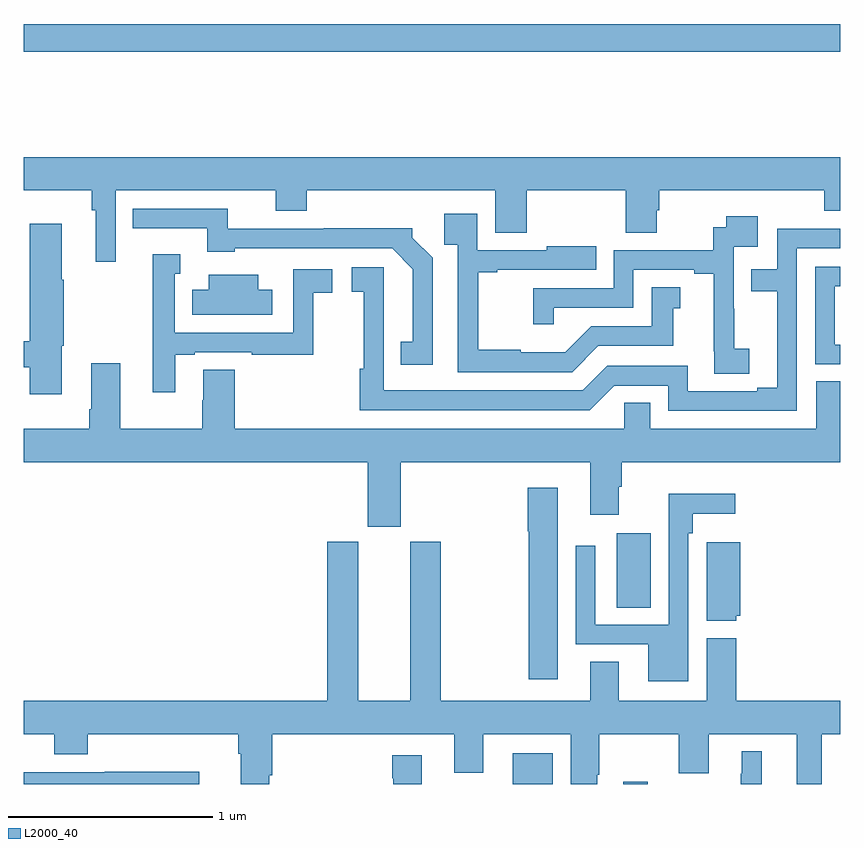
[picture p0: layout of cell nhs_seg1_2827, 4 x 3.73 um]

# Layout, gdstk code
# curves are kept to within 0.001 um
import gdstk
lib = gdstk.Library(unit=1e-6, precision=1e-09)
def R(c, l, rs):  # rectangles x0, y0, x1, y1
    for r in rs: c.add(gdstk.rectangle(r[:2], r[2:], *l))
def P(c, l, *ps):  # polygons
    for p in ps: c.add(gdstk.Polygon(p, *l))
L2000_40 = (2000, 40)

nhs_seg1_2827 = lib.new_cell('nhs_seg1_2827')
R(nhs_seg1_2827, L2000_40, [(267.395,506.199,267.591,506.35), (267.938,506.199,268.057,506.209), (267.905,507.064,268.072,507.427), (265,509.788,269,509.924)])
P(nhs_seg1_2827, L2000_40, [(265.449,509.108),(266.234,509.108),(266.234,509.009),(266.387,509.009),(266.387,509.108),(267.311,509.108),(267.311,508.9),(267.464,508.9),(267.464,509.108),(267.95,509.108),(267.95,508.9),(268.102,508.9),(268.102,509.01),(268.115,509.01),(268.115,509.108),(268.922,509.108),(268.922,509.009),(269,509.009),(269,509.272),(265,509.272),(265,509.108),(265.333,509.108),(265.333,509.012),(265.352,509.012),(265.352,508.758),(265.449,508.758)],
  [(267.003,508.778),(266.904,508.877),(266.904,508.922),(266.47,508.922),(266.47,508.92),(265.998,508.92),(265.998,509.019),(265.534,509.019),(265.534,508.923),(265.898,508.923),(265.898,508.808),(266.034,508.808),(266.034,508.824),(266.805,508.824),(266.906,508.723),(266.906,508.367),(266.848,508.367),(266.848,508.254),(267.003,508.254)],
  [(267.816,508.347),(268.183,508.347),(268.183,508.531),(268.216,508.531),(268.216,508.634),(268.076,508.634),(268.076,508.443),(267.78,508.443),(267.652,508.315),(267.434,508.315),(267.434,508.327),(267.227,508.327),(267.227,508.707),(267.319,508.707),(267.319,508.719),(267.806,508.719),(267.806,508.834),(267.563,508.834),(267.563,508.815),(267.222,508.815),(267.222,508.993),(267.061,508.993),(267.061,508.841),(267.126,508.841),(267.126,508.218),(267.687,508.218)],
  [(268.555,508.332),(268.481,508.332),(268.481,508.529),(268.479,508.529),(268.479,508.833),(268.597,508.833),(268.597,508.981),(268.441,508.981),(268.441,508.929),(268.378,508.929),(268.378,508.815),(267.891,508.815),(267.891,508.629),(267.496,508.629),(267.496,508.452),(267.597,508.452),(267.597,508.533),(267.987,508.533),(267.987,508.719),(268.286,508.719),(268.286,508.699),(268.382,508.699),(268.382,508.321),(268.384,508.321),(268.384,508.21),(268.555,508.21)],
  [(265.186,508.347),(265.194,508.347),(265.194,508.67),(265.186,508.67),(265.186,508.945),(265.028,508.945),(265.028,508.37),(265,508.37),(265,508.242),(265.028,508.242),(265.028,508.11),(265.186,508.11)],
  [(268.788,508.824),(269,508.824),(269,508.92),(268.692,508.92),(268.692,508.722),(268.564,508.722),(268.564,508.614),(268.691,508.614),(268.691,508.14),(268.595,508.14),(268.595,508.125),(268.254,508.125),(268.254,508.248),(267.858,508.248),(267.738,508.128),(266.763,508.128),(266.764,508.732),(266.607,508.732),(266.607,508.611),(266.665,508.611),(266.665,508.235),(266.647,508.235),(266.647,508.032),(267.774,508.032),(267.894,508.152),(268.158,508.152),(268.158,508.029),(268.788,508.029)],
  [(265.741,508.302),(265.837,508.302),(265.837,508.314),(266.116,508.314),(266.116,508.302),(266.418,508.302),(266.418,508.606),(266.512,508.606),(266.512,508.722),(266.319,508.722),(266.319,508.41),(265.74,508.41),(265.74,508.701),(265.765,508.701),(265.765,508.795),(265.632,508.795),(265.632,508.363),(265.631,508.363),(265.631,508.119),(265.741,508.119)],
  [(269,508.353),(268.974,508.353),(268.974,508.638),(269,508.638),(269,508.734),(268.878,508.734),(268.878,508.257),(269,508.257)],
  [(266.218,508.621),(266.149,508.621),(266.149,508.696),(265.907,508.696),(265.907,508.621),(265.825,508.621),(265.825,508.499),(266.218,508.499)],
  [(266.848,507.776),(267.776,507.776),(267.776,507.519),(267.916,507.519),(267.916,507.656),(267.929,507.656),(267.929,507.776),(269,507.776),(269,508.172),(268.883,508.172),(268.883,507.94),(268.069,507.94),(268.069,508.067),(267.942,508.067),(267.942,507.94),(266.033,507.94),(266.033,508.229),(265.88,508.229),(265.88,508.079),(265.873,508.079),(265.873,507.94),(265.471,507.94),(265.471,508.261),(265.331,508.261),(265.331,508.036),(265.319,508.036),(265.319,507.94),(265,507.94),(265,507.776),(266.684,507.776),(266.684,507.459),(266.848,507.459)],
  [(267.616,507.652),(267.47,507.652),(267.47,507.439),(267.475,507.439),(267.475,506.712),(267.616,506.712)],
  [(268.257,507.428),(268.277,507.428),(268.277,507.524),(268.486,507.524),(268.486,507.622),(268.161,507.622),(268.161,506.979),(267.801,506.979),(267.801,507.367),(267.705,507.367),(267.705,506.883),(268.061,506.883),(268.061,506.702),(268.257,506.702)],
  [(266.203,506.242),(266.216,506.242),(266.216,506.444),(267.11,506.444),(267.11,506.254),(267.25,506.254),(267.25,506.444),(267.68,506.444),(267.68,506.199),(267.811,506.199),(267.811,506.245),(267.819,506.245),(267.819,506.444),(268.21,506.444),(268.21,506.252),(268.357,506.252),(268.357,506.444),(268.787,506.444),(268.787,506.199),(268.91,506.199),(268.91,506.444),(269,506.444),(269,506.608),(268.49,506.608),(268.49,506.914),(268.346,506.914),(268.346,506.608),(267.916,506.608),(267.916,506.798),(267.776,506.798),(267.776,506.608),(267.042,506.608),(267.042,507.387),(266.894,507.387),(266.894,506.608),(266.638,506.608),(266.638,507.387),(266.486,507.387),(266.486,506.608),(265,506.608),(265,506.444),(265.148,506.444),(265.148,506.345),(265.313,506.345),(265.313,506.444),(266.051,506.444),(266.051,506.348),(266.063,506.348),(266.063,506.199),(266.203,506.199)],
  [(268.491,507.024),(268.51,507.024),(268.51,507.385),(268.346,507.385),(268.346,506.999),(268.491,506.999)],
  [(268.615,506.359),(268.517,506.359),(268.517,506.249),(268.513,506.249),(268.513,506.199),(268.615,506.199)],
  [(266.95,506.341),(266.804,506.341),(266.804,506.228),(266.809,506.228),(266.809,506.199),(266.95,506.199)],
  [(265.859,506.258),(265.396,506.258),(265.396,506.256),(265,506.256),(265,506.199),(265.859,506.199)])

lib.write_gds('nhs_seg1_2827.gds')
